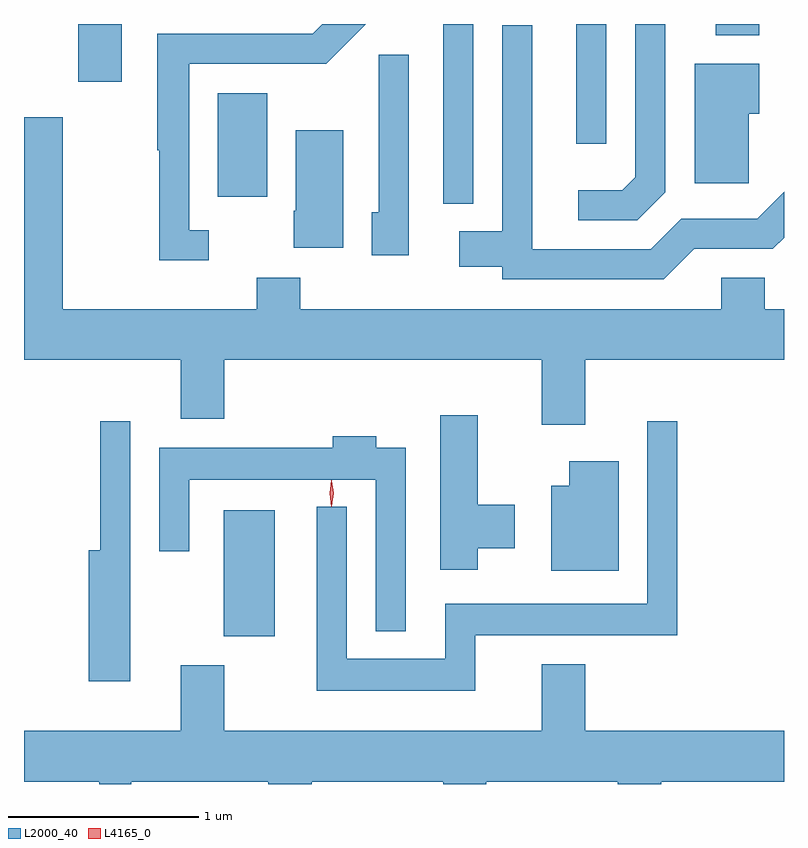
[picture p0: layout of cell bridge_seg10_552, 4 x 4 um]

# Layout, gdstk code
import gdstk
lib = gdstk.Library(unit=1e-6, precision=1e-09)
def R(c, l, rs):  # rectangles x0, y0, x1, y1
    for r in rs: c.add(gdstk.rectangle(r[:2], r[2:], *l))
def P(c, l, *ps):  # polygons
    for p in ps: c.add(gdstk.Polygon(p, *l))
L2000_40 = (2000, 40)
L4165_0 = (4165, 0)

bridge_seg10_552 = lib.new_cell('bridge_seg10_552')
R(bridge_seg10_552, L2000_40, [(776.556,2172.401,776.824,2173.064), (777.711,2174.678,777.869,2175.624), (776.526,2174.716,776.784,2175.259), (778.411,2174.993,778.569,2175.624), (775.791,2175.321,776.019,2175.624), (779.146,2175.566,779.374,2175.624)])
P(bridge_seg10_552, L2000_40, [(778.879,2174.739),(778.879,2175.624),(778.721,2175.624),(778.721,2174.817),(778.654,2174.749),(778.423,2174.749),(778.423,2174.591),(778.732,2174.591)],
  [(776.478,2174.539),(776.374,2174.539),(776.374,2175.416),(777.097,2175.416),(777.304,2175.624),(777.074,2175.624),(777.024,2175.574),(776.206,2175.574),(776.206,2174.96),(776.216,2174.96),(776.216,2174.381),(776.478,2174.381)],
  [(779.032,2174.441),(779.447,2174.441),(779.505,2174.499),(779.505,2174.741),(779.364,2174.599),(778.964,2174.599),(778.804,2174.439),(778.179,2174.439),(778.179,2175.618),(778.021,2175.618),(778.021,2174.534),(777.796,2174.534),(777.796,2174.346),(778.021,2174.346),(778.021,2174.281),(778.872,2174.281)],
  [(777.529,2175.463),(777.371,2175.463),(777.371,2174.634),(777.336,2174.634),(777.336,2174.406),(777.529,2174.406)],
  [(779.319,2175.151),(779.374,2175.151),(779.374,2175.414),(779.036,2175.414),(779.036,2174.786),(779.319,2174.786)],
  [(778.459,2173.856),(779.505,2173.856),(779.505,2174.124),(779.404,2174.124),(779.404,2174.289),(779.176,2174.289),(779.176,2174.124),(776.959,2174.124),(776.959,2174.289),(776.731,2174.289),(776.731,2174.124),(775.709,2174.124),(775.709,2175.134),(775.505,2175.134),(775.505,2173.856),(776.331,2173.856),(776.331,2173.546),(776.559,2173.546),(776.559,2173.856),(778.231,2173.856),(778.231,2173.516),(778.459,2173.516)],
  [(777.184,2175.064),(776.936,2175.064),(776.936,2174.64),(776.926,2174.64),(776.926,2174.446),(777.184,2174.446)],
  [(777.894,2172.866),(778.089,2172.866),(778.089,2173.094),(777.894,2173.094),(777.894,2173.564),(777.696,2173.564),(777.696,2172.751),(777.894,2172.751)],
  [(777.879,2172.406),(778.944,2172.406),(778.944,2173.533),(778.786,2173.533),(778.786,2172.574),(777.721,2172.574),(777.721,2172.284),(777.204,2172.284),(777.204,2173.083),(777.046,2173.083),(777.046,2172.116),(777.879,2172.116)],
  [(776.064,2173.533),(775.906,2173.533),(775.906,2172.854),(775.846,2172.854),(775.846,2172.166),(776.064,2172.166)],
  [(777.514,2173.394),(777.359,2173.394),(777.359,2173.454),(777.131,2173.454),(777.131,2173.394),(776.216,2173.394),(776.216,2172.848),(776.374,2172.848),(776.374,2173.226),(777.356,2173.226),(777.356,2172.428),(777.514,2172.428)],
  [(778.634,2173.324),(778.376,2173.324),(778.376,2173.194),(778.281,2173.194),(778.281,2172.746),(778.634,2172.746)],
  [(776.069,2171.636),(776.791,2171.636),(776.791,2171.624),(777.019,2171.624),(777.019,2171.636),(777.711,2171.636),(777.711,2171.624),(777.939,2171.624),(777.939,2171.636),(778.631,2171.636),(778.631,2171.624),(778.859,2171.624),(778.859,2171.636),(779.505,2171.636),(779.505,2171.904),(778.459,2171.904),(778.459,2172.254),(778.231,2172.254),(778.231,2171.904),(776.559,2171.904),(776.559,2172.249),(776.331,2172.249),(776.331,2171.904),(775.505,2171.904),(775.505,2171.636),(775.901,2171.636),(775.901,2171.624),(776.069,2171.624)])
P(bridge_seg10_552, L4165_0, [(777.123,2173.084),(777.123,2173.084),(777.113,2173.153),(777.123,2173.222),(777.123,2173.223),(777.124,2173.222),(777.133,2173.153),(777.124,2173.084)],
  [(777.124,2173.087),(777.124,2173.088),(777.114,2173.154),(777.124,2173.22),(777.124,2173.22),(777.124,2173.22),(777.134,2173.154),(777.124,2173.088)])

lib.write_gds('bridge_seg10_552.gds')
